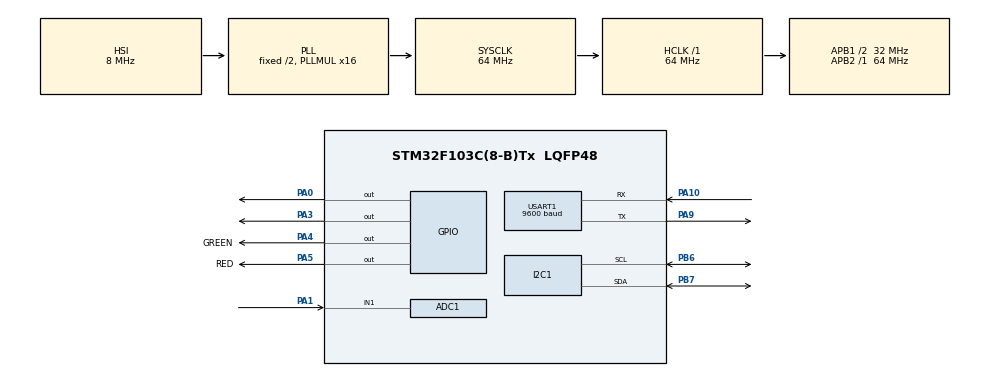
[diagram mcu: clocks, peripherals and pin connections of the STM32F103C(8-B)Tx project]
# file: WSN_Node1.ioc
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ADC1.Channel-0\#ChannelRegularConversion=ADC_CHANNEL_1
ADC1.NbrOfConversionFlag=1
ADC1.Rank-0\#ChannelRegularConversion=1
ADC1.SamplingTime-0\#ChannelRegularConversion=ADC_SAMPLETIME_71CYCLES_5
ADC1.master=1
Mcu.Family=STM32F1
Mcu.Name=STM32F103C(8-B)Tx
Mcu.Package=LQFP48
NVIC.PriorityGroup=NVIC_PRIORITYGROUP_4
NVIC.RTC_Alarm_IRQn=true\:0\:0\:false\:false\:true\:true\:true\:true
NVIC.USART1_IRQn=true\:2\:0\:true\:false\:true\:true\:true\:true
PA0-WKUP.Signal=GPIO_Output
PA1.Signal=ADCx_IN1
PA10.Mode=Asynchronous
PA10.Signal=USART1_RX
PA13.Mode=Serial_Wire
PA13.Signal=SYS_JTMS-SWDIO
PA14.Mode=Serial_Wire
PA14.Signal=SYS_JTCK-SWCLK
PA3.Signal=GPIO_Output
PA4.GPIO_Label=GREEN
PA4.PinState=GPIO_PIN_SET
PA4.Signal=GPIO_Output
PA5.GPIO_Label=RED
PA5.Signal=GPIO_Output
PA9.Mode=Asynchronous
PA9.Signal=USART1_TX
PB6.Mode=I2C
PB6.Signal=I2C1_SCL
PB7.Mode=I2C
PB7.Signal=I2C1_SDA
PC14-OSC32_IN.Mode=LSE-External-Oscillator
PC14-OSC32_IN.Signal=RCC_OSC32_IN
PC15-OSC32_OUT.Mode=LSE-External-Oscillator
PC15-OSC32_OUT.Signal=RCC_OSC32_OUT
ProjectManager.HeapSize=0x200
ProjectManager.StackSize=0x400
ProjectManager.TargetToolchain=MDK-ARM V5.32
RCC.ADCPresc=RCC_ADCPCLK2_DIV6
RCC.AHBFreq_Value=64000000
RCC.APB1CLKDivider=RCC_HCLK_DIV2
RCC.APB1Freq_Value=32000000
RCC.APB1TimFreq_Value=64000000
RCC.APB2Freq_Value=64000000
RCC.APB2TimFreq_Value=64000000
RCC.HCLKFreq_Value=64000000
RCC.PLLMUL=RCC_PLL_MUL16
RCC.SYSCLKFreq_VALUE=64000000
RCC.SYSCLKSource=RCC_SYSCLKSOURCE_PLLCLK
RCC.USBFreq_Value=64000000
SH.ADCx_IN1.0=ADC1_IN1,IN1
USART1.BaudRate=9600
USART1.VirtualMode=VM_ASYNC
VP_RTC_VS_RTC_Activate.Mode=RTC_Enabled
VP_RTC_VS_RTC_Calendar.Mode=RTC_Calendar
board=custom

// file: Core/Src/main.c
/* USER CODE BEGIN Header */
/**
  ******************************************************************************
  * @file           : main.c
  * @brief          : Main program body
  ******************************************************************************
  * @attention
  *
  * Copyright (c) 2025 STMicroelectronics.
  * All rights reserved.
  *
  * This software is licensed under terms that can be found in the LICENSE file
  * in the root directory of this software component.
  * If no LICENSE file comes with this software, it is provided AS-IS.
  *
  ******************************************************************************
  */
/* USER CODE END Header */
#include "main.h"

/* USER CODE BEGIN Includes */
#include "aht20.h"
#include "string.h"
#include "stdbool.h"
#include "stdio.h"
#include <stdlib.h>
/* USER CODE END Includes */

/* USER CODE BEGIN PM */
#define FLASH_CFG_ADDR  0x0800FC00
#define RX_BUF_SIZE 128
#define CFG_MAGIC  0xA5A55A5A
/* USER CODE END PM */

ADC_HandleTypeDef hadc1;

I2C_HandleTypeDef hi2c1;

RTC_HandleTypeDef hrtc;

UART_HandleTypeDef huart1;

/* USER CODE BEGIN PV */
char node_id[] = "0002";
volatile uint8_t  rx_byte;
volatile uint8_t  rx_buf[RX_BUF_SIZE];
volatile uint16_t rx_idx = 0;
volatile bool line_ready = false;
#define CMD_SEND_REQUEST   0x01
#define CMD_SEND_OK        0x02
#define CMD_SENSOR_DATA    0x03
#define CMD_DATA_ACK       0x04
#define CMD_CFG_REQUEST    0x05
#define CMD_CFG_DATA       0x07
#define CMD_CFG_NOCHANGE   0x06
#define HEADER_BYTE        0xAA
/* USER CODE END PV */

void SystemClock_Config(void);
static void MX_GPIO_Init(void);
static void MX_USART1_UART_Init(void);
static void MX_I2C1_Init(void);
static void MX_RTC_Init(void);
static void MX_ADC1_Init(void);
/* USER CODE BEGIN PFP */
static float t = 20.0f;
static float h = 50.3f;
static float soil = 30.0f;
typedef struct {
    float Temp_Th;
    float Hum_Th;
		float Soil_Th;
		int period_sec;
    uint32_t magic;
} node_config_t;
node_config_t node_config ;

float new_TempTh,new_HumTh,new_Soil;
int period ;

/* USER CODE END PFP */

/* USER CODE BEGIN 0 */

float ReadSoil_ADC(void) {
  HAL_ADC_Start(&hadc1);
  HAL_ADC_PollForConversion(&hadc1, 20);
  uint16_t tmp= (uint16_t)HAL_ADC_GetValue(&hadc1);
	HAL_ADC_Stop(&hadc1);
	float soil_hum = (4095 - tmp) * 100.0f / (4095 - 0);
	return soil_hum;
}

void LoRa_Sleep(void)
{
	HAL_GPIO_WritePin(GPIOA, GPIO_PIN_0 | GPIO_PIN_3, GPIO_PIN_SET);
}
void LoRa_Wakeup_And_Stabilize(void)
{
  HAL_GPIO_WritePin(GPIOA, GPIO_PIN_0 | GPIO_PIN_3, GPIO_PIN_RESET);
	HAL_Delay(100);
}

void Flash_SaveConfig(node_config_t *cfg){
	HAL_FLASH_Unlock();
  FLASH_EraseInitTypeDef erase = {0};
  uint32_t page_error = 0;
  erase.TypeErase = FLASH_TYPEERASE_PAGES;
  erase.PageAddress = FLASH_CFG_ADDR;
  erase.NbPages = 1;
  HAL_FLASHEx_Erase(&erase, &page_error);
	uint32_t addr = FLASH_CFG_ADDR;
	const uint32_t *p = (const uint32_t*)cfg;
	for (uint32_t i = 0; i < sizeof(node_config_t)/4; i++){
		HAL_FLASH_Program(FLASH_TYPEPROGRAM_WORD, addr, p[i]);
		addr += 4;
	}
	HAL_FLASH_Lock();
}
bool Flash_LoadConfig(node_config_t *cfg)
{
	const node_config_t *flash_cfg = (const node_config_t*)FLASH_CFG_ADDR;
	if (flash_cfg->magic != CFG_MAGIC)
		return false;
	memcpy(cfg, flash_cfg, sizeof(node_config_t));
  return true;
}
void Config_Init(void)
{
	if (!Flash_LoadConfig(&node_config)){
		node_config.Temp_Th = 30.0f;
		node_config.Hum_Th  = 50.0f;
		node_config.Soil_Th  = 30.0f;
		node_config.period_sec = 30;
		node_config.magic     = CFG_MAGIC;
		Flash_SaveConfig(&node_config);
   }
}

volatile uint8_t dem=0;
void HAL_RTC_AlarmAEventCallback(RTC_HandleTypeDef *hrtc)
{
   dem++;
}
void RTC_SetAlarm_AfterSecond(uint32_t sec){
	RTC_TimeTypeDef nowTime;
	RTC_AlarmTypeDef sAlarm;
	uint32_t now, then;
	HAL_RTC_GetTime(&hrtc, &nowTime, RTC_FORMAT_BIN);
  now  = nowTime.Hours  * 3600UL + nowTime.Minutes * 60UL + nowTime.Seconds;
	then = (now + sec) % 86400UL;
	sAlarm.AlarmTime.Hours   = then / 3600UL;
  sAlarm.AlarmTime.Minutes = (then % 3600UL) / 60UL;
  sAlarm.AlarmTime.Seconds = then % 60UL;
	sAlarm.Alarm = RTC_ALARM_A;

  if (HAL_RTC_SetAlarm_IT(&hrtc, &sAlarm, RTC_FORMAT_BIN) != HAL_OK)
  {
		Error_Handler();
  }
}
void EnterStop(void){
	LoRa_Sleep();
	RTC_SetAlarm_AfterSecond(node_config.period_sec);
	HAL_SuspendTick();
	__HAL_PWR_CLEAR_FLAG(PWR_FLAG_WU);
	HAL_PWR_EnterSTOPMode(PWR_LOWPOWERREGULATOR_ON, PWR_STOPENTRY_WFI);
	HAL_ResumeTick();
  SystemClock_Config();
	LoRa_Wakeup_And_Stabilize();
}
void LoRa_UART_Send(uint8_t *buf, uint16_t len)
{
    HAL_UART_Transmit(&huart1, buf, len, 1000);
}
void HAL_UART_RxCpltCallback(UART_HandleTypeDef *huart)
{
    if (huart->Instance == USART1)
    {
        if (rx_idx < RX_BUF_SIZE)
        {
            rx_buf[rx_idx++] = rx_byte;
        }
        HAL_UART_Receive_IT(&huart1, (uint8_t*)&rx_byte, 1);
    }
}
// Cho 1 dong moi tu RX (toi '\n') voi timeout_ms
// copy vаo buf (size maxlen), return: so byte (0 = timeout)
int LoRa_WaitLine(uint8_t *buf, uint16_t len, uint32_t timeout_ms)
{
		uint32_t start = HAL_GetTick();
    while ((HAL_GetTick() - start) < timeout_ms)
    {
			  if (rx_idx >= len)
        {
         memcpy(buf, (const uint8_t*)rx_buf, len);
         rx_idx = 0;
         return len;
        }
    }
    return 0;  // timeout
}
#define MAX_SEND_RETRIES        50
#define SEND_RESP_TIMEOUT_MS    2000  // 2s cho OK
bool request_send_permission(void) {
	char line[20];
	uint8_t p[4];
		p[0] = 0xAA;
		uint16_t id = (uint16_t)strtol(node_id, NULL, 16);
		p[1] = (id >> 8) & 0xFF;
		p[2] = id & 0xFF;
		p[3] = CMD_SEND_REQUEST ;
	for (int attempt = 0; attempt < MAX_SEND_RETRIES; attempt++)
	{
		LoRa_UART_Send(p,4);
		uint8_t resp[4];
		int len= LoRa_WaitLine(resp,sizeof(resp),SEND_RESP_TIMEOUT_MS);
		if(len ==4){
			if( resp[0] == 0xAA && resp[3] == CMD_SEND_OK && resp[1] == p[1] && resp[2] == p[2]){
				return true;
			}
		}
		HAL_Delay(200);
	}
	return false;
}
#define MAX_DATA_RETRIES        50
#define DATA_ACK_TIMEOUT_MS     2000  // 2s cho ACK

bool send_data_with_ack(float hum, float temp, float soil)
{
    char line[64];
		uint8_t frame[16];
    uint16_t id = (uint16_t)strtol(node_id, NULL, 16);
    frame[0] = 0xAA;
    frame[1] = (id >> 8) & 0xFF;
    frame[2] = id & 0xFF;
    frame[3] = CMD_SENSOR_DATA;
    memcpy((void*)&frame[4],  &hum,  4);
    memcpy((void*)&frame[8],  &temp, 4);
    memcpy((void*)&frame[12], &soil, 4);
    for (int attempt = 0; attempt < MAX_DATA_RETRIES; attempt++)
    {
			LoRa_UART_Send(frame,16);
			// 2) Cho ACK|id
			uint8_t r[4];
			int len = LoRa_WaitLine(r, 4, DATA_ACK_TIMEOUT_MS);
			if (len == 4)
      {
				if (r[0] == HEADER_BYTE && r[3] == CMD_DATA_ACK && r[1] == frame[1] && r[2] == frame[2]){
					return true;
				}
			}
        HAL_Delay(200); // retry
    }
    return false;
}
#define CFG_RESP_TIMEOUT_MS  2000
#define MAX_CFG_RETRIES      5
bool request_config_update(float *temp_th,float *hum_th,float *soil_th, int *period_sec){
	uint8_t q[4];
	uint16_t id = (uint16_t)strtol(node_id, NULL, 16);
  q[0] = HEADER_BYTE;
  q[1] = (id >> 8) & 0xFF;
  q[2] = id & 0xFF;
  q[3] = CMD_CFG_REQUEST;
	for (int attempt=0 ; attempt < MAX_CFG_RETRIES; attempt++)
	{
		LoRa_UART_Send(q,4);
		uint8_t r4[4];
		int len4 = LoRa_WaitLine(r4, 4 ,CFG_RESP_TIMEOUT_MS);
		if (len4 == 4 && r4[0] == HEADER_BYTE && r4[1] == q[1] && r4[2] == q[2]){
        if (r4[3] == CMD_CFG_NOCHANGE){
					return false;
         }
         if (r4[3] == CMD_CFG_DATA){
						uint8_t r20[20];
            r20[0] = r4[0];
            r20[1] = r4[1];
            r20[2] = r4[2];
						r20[3] = r4[3];
            int len20 = LoRa_WaitLine(&r20[4], 16, CFG_RESP_TIMEOUT_MS);
						if (len20 == 16)
						{
								memcpy(temp_th,    &r20[4],  4);
								memcpy(hum_th,     &r20[8],  4);
								memcpy(soil_th,    &r20[12], 4);
								memcpy(period_sec, &r20[16], 4);
								return true;
						}
			}
		}
//		if(len>0){
//			if (r[0] == HEADER_BYTE && r[3] == CMD_CFG_NOCHANGE)
//				return false;
//			if (r[0] == HEADER_BYTE && r[3] == CMD_CFG_DATA && r[1] == q[1] && r[2] == q[2] ){
//				memcpy(temp_th, &r[4], 4);
//        memcpy(hum_th, &r[8], 4);
//        memcpy(soil_th, &r[12], 4);
//				memcpy(period_sec, &r[16], 4);
//				return true;
//			}
//		}
		HAL_Delay(200);
	}
	return false;
}
/* USER CODE END 0 */

int main(void)
{

  /* MCU Configuration--------------------------------------------------------*/

  /* Reset of all peripherals, Initializes the Flash interface and the Systick. */
  HAL_Init();

  /* Configure the system clock */
  SystemClock_Config();

  /* Initialize all configured peripherals */
  MX_GPIO_Init();
  MX_USART1_UART_Init();
  MX_I2C1_Init();
  MX_RTC_Init();
  MX_ADC1_Init();
  /* USER CODE BEGIN 2 */
	Config_Init();
	AHT20_Init(&hi2c1);
//	HAL_GPIO_WritePin(GPIOA, GPIO_PIN_0 | GPIO_PIN_3, GPIO_PIN_RESET);
	HAL_UART_Receive_IT(&huart1, (uint8_t*)&rx_byte, 1);
	HAL_ADCEx_Calibration_Start(&hadc1);

  /* USER CODE END 2 */

  /* Infinite loop */
  /* USER CODE BEGIN WHILE */
  while (1)
  {
		AHT20_Read(&hi2c1,&t,&h);
		soil = ReadSoil_ADC();
		// 1) Xin quyen gui
		bool can_send = request_send_permission();
		if(can_send){
			// 2) Gui DATA & cho ACK
			bool sent_ok = send_data_with_ack(h, t, soil);
			if(sent_ok){
//				float new_TempTh,new_HumTh;
				bool has_cfg=request_config_update(&new_TempTh,&new_HumTh,&new_Soil,&period);
				if(has_cfg){
					node_config.Temp_Th = new_TempTh;
          node_config.Hum_Th = new_HumTh;
					node_config.Soil_Th = new_Soil;
					node_config.period_sec = period;
					node_config.magic= CFG_MAGIC;
					Flash_SaveConfig(&node_config);
				}
			}
		}
		if( h >= node_config.Hum_Th || t>= node_config.Temp_Th ){
			HAL_GPIO_WritePin(RED_GPIO_Port,RED_Pin, GPIO_PIN_SET);
			HAL_GPIO_WritePin(GREEN_GPIO_Port,GREEN_Pin, GPIO_PIN_RESET);
		}
		else{
			HAL_GPIO_WritePin(GREEN_GPIO_Port,GREEN_Pin, GPIO_PIN_SET);
			HAL_GPIO_WritePin(RED_GPIO_Port,RED_Pin, GPIO_PIN_RESET);
		}
		EnterStop();
    /* USER CODE END WHILE */

  }
}

void SystemClock_Config(void)
{
  RCC_OscInitTypeDef RCC_OscInitStruct = {0};
  RCC_ClkInitTypeDef RCC_ClkInitStruct = {0};
  RCC_PeriphCLKInitTypeDef PeriphClkInit = {0};

  /** Initializes the RCC Oscillators according to the specified parameters
  * in the RCC_OscInitTypeDef structure.
  */
  RCC_OscInitStruct.OscillatorType = RCC_OSCILLATORTYPE_HSI|RCC_OSCILLATORTYPE_LSI;
  RCC_OscInitStruct.HSIState = RCC_HSI_ON;
  RCC_OscInitStruct.HSICalibrationValue = RCC_HSICALIBRATION_DEFAULT;
  RCC_OscInitStruct.LSIState = RCC_LSI_ON;
  RCC_OscInitStruct.PLL.PLLState = RCC_PLL_ON;
  RCC_OscInitStruct.PLL.PLLSource = RCC_PLLSOURCE_HSI_DIV2;
  RCC_OscInitStruct.PLL.PLLMUL = RCC_PLL_MUL16;
  if (HAL_RCC_OscConfig(&RCC_OscInitStruct) != HAL_OK)
  {
    Error_Handler();
  }

  /** Initializes the CPU, AHB and APB buses clocks
  */
  RCC_ClkInitStruct.ClockType = RCC_CLOCKTYPE_HCLK|RCC_CLOCKTYPE_SYSCLK
                              |RCC_CLOCKTYPE_PCLK1|RCC_CLOCKTYPE_PCLK2;
  RCC_ClkInitStruct.SYSCLKSource = RCC_SYSCLKSOURCE_PLLCLK;
  RCC_ClkInitStruct.AHBCLKDivider = RCC_SYSCLK_DIV1;
  RCC_ClkInitStruct.APB1CLKDivider = RCC_HCLK_DIV2;
  RCC_ClkInitStruct.APB2CLKDivider = RCC_HCLK_DIV1;

  if (HAL_RCC_ClockConfig(&RCC_ClkInitStruct, FLASH_LATENCY_2) != HAL_OK)
  {
    Error_Handler();
  }
  PeriphClkInit.PeriphClockSelection = RCC_PERIPHCLK_RTC|RCC_PERIPHCLK_ADC;
  PeriphClkInit.RTCClockSelection = RCC_RTCCLKSOURCE_LSI;
  PeriphClkInit.AdcClockSelection = RCC_ADCPCLK2_DIV6;
  if (HAL_RCCEx_PeriphCLKConfig(&PeriphClkInit) != HAL_OK)
  {
    Error_Handler();
  }
}

static void MX_ADC1_Init(void)
{

  ADC_ChannelConfTypeDef sConfig = {0};

  /** Common config
  */
  hadc1.Instance = ADC1;
  hadc1.Init.ScanConvMode = ADC_SCAN_DISABLE;
  hadc1.Init.ContinuousConvMode = DISABLE;
  hadc1.Init.DiscontinuousConvMode = DISABLE;
  hadc1.Init.ExternalTrigConv = ADC_SOFTWARE_START;
  hadc1.Init.DataAlign = ADC_DATAALIGN_RIGHT;
  hadc1.Init.NbrOfConversion = 1;
  if (HAL_ADC_Init(&hadc1) != HAL_OK)
  {
    Error_Handler();
  }

  /** Configure Regular Channel
  */
  sConfig.Channel = ADC_CHANNEL_1;
  sConfig.Rank = ADC_REGULAR_RANK_1;
  sConfig.SamplingTime = ADC_SAMPLETIME_71CYCLES_5;
  if (HAL_ADC_ConfigChannel(&hadc1, &sConfig) != HAL_OK)
  {
    Error_Handler();
  }

}

static void MX_I2C1_Init(void)
{

  hi2c1.Instance = I2C1;
  hi2c1.Init.ClockSpeed = 100000;
  hi2c1.Init.DutyCycle = I2C_DUTYCYCLE_2;
  hi2c1.Init.OwnAddress1 = 0;
  hi2c1.Init.AddressingMode = I2C_ADDRESSINGMODE_7BIT;
  hi2c1.Init.DualAddressMode = I2C_DUALADDRESS_DISABLE;
  hi2c1.Init.OwnAddress2 = 0;
  hi2c1.Init.GeneralCallMode = I2C_GENERALCALL_DISABLE;
  hi2c1.Init.NoStretchMode = I2C_NOSTRETCH_DISABLE;
  if (HAL_I2C_Init(&hi2c1) != HAL_OK)
  {
    Error_Handler();
  }

}

static void MX_RTC_Init(void)
{

  RTC_TimeTypeDef sTime = {0};
  RTC_DateTypeDef DateToUpdate = {0};

  /** Initialize RTC Only
  */
  hrtc.Instance = RTC;
  hrtc.Init.AsynchPrediv = RTC_AUTO_1_SECOND;
  hrtc.Init.OutPut = RTC_OUTPUTSOURCE_ALARM;
  if (HAL_RTC_Init(&hrtc) != HAL_OK)
  {
    Error_Handler();
  }

  /** Initialize RTC and set the Time and Date
  */
  sTime.Hours = 0x0;
  sTime.Minutes = 0x0;
  sTime.Seconds = 0x0;

  if (HAL_RTC_SetTime(&hrtc, &sTime, RTC_FORMAT_BCD) != HAL_OK)
  {
    Error_Handler();
  }
  DateToUpdate.WeekDay = RTC_WEEKDAY_MONDAY;
  DateToUpdate.Month = RTC_MONTH_JANUARY;
  DateToUpdate.Date = 0x1;
  DateToUpdate.Year = 0x0;

  if (HAL_RTC_SetDate(&hrtc, &DateToUpdate, RTC_FORMAT_BCD) != HAL_OK)
  {
    Error_Handler();
  }

}

static void MX_USART1_UART_Init(void)
{

  huart1.Instance = USART1;
  huart1.Init.BaudRate = 9600;
  huart1.Init.WordLength = UART_WORDLENGTH_8B;
  huart1.Init.StopBits = UART_STOPBITS_1;
  huart1.Init.Parity = UART_PARITY_NONE;
  huart1.Init.Mode = UART_MODE_TX_RX;
  huart1.Init.HwFlowCtl = UART_HWCONTROL_NONE;
  huart1.Init.OverSampling = UART_OVERSAMPLING_16;
  if (HAL_UART_Init(&huart1) != HAL_OK)
  {
    Error_Handler();
  }

}

static void MX_GPIO_Init(void)
{
  GPIO_InitTypeDef GPIO_InitStruct = {0};

  /* GPIO Ports Clock Enable */
  __HAL_RCC_GPIOC_CLK_ENABLE();
  __HAL_RCC_GPIOA_CLK_ENABLE();
  __HAL_RCC_GPIOB_CLK_ENABLE();

  /*Configure GPIO pin Output Level */
  HAL_GPIO_WritePin(GPIOA, GPIO_PIN_0|GPIO_PIN_3|RED_Pin, GPIO_PIN_RESET);

  /*Configure GPIO pin Output Level */
  HAL_GPIO_WritePin(GREEN_GPIO_Port, GREEN_Pin, GPIO_PIN_SET);

  /*Configure GPIO pins : PA0 PA3 GREEN_Pin RED_Pin */
  GPIO_InitStruct.Pin = GPIO_PIN_0|GPIO_PIN_3|GREEN_Pin|RED_Pin;
  GPIO_InitStruct.Mode = GPIO_MODE_OUTPUT_PP;
  GPIO_InitStruct.Pull = GPIO_NOPULL;
  GPIO_InitStruct.Speed = GPIO_SPEED_FREQ_LOW;
  HAL_GPIO_Init(GPIOA, &GPIO_InitStruct);

}

void Error_Handler(void)
{
  __disable_irq();
  while (1)
  {
  }
}
